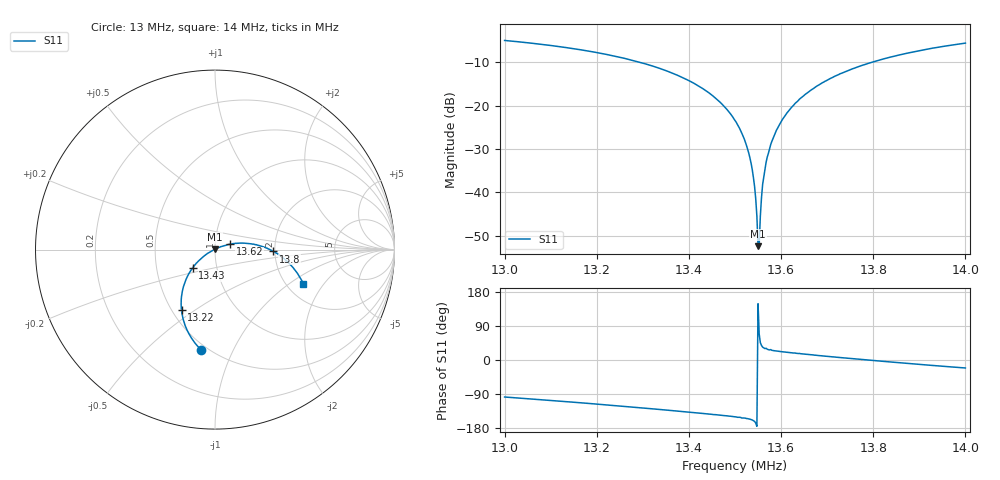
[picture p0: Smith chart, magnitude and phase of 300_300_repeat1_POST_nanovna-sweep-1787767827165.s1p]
! NanoVNA Web complex sweep
! Processing: original sample grid, no browser smoothing
# Hz S RI R 50
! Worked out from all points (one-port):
!   401 points, 13 MHz to 14 MHz, reference 50 ohm
!   lowest |S11| = -52.4 dB at 13.55 MHz (marker M1), VSWR 1.00, Z = 49.8 + j0.125 ohm
!   |S11| at or under -10 dB: 13.29 MHz to 13.8 MHz (502.4 kHz wide, 3.71 % of centre)
!   S11 on the Smith chart (normalised r, x): 13 MHz: 0.46, -0.76; 13.22 MHz: 0.56, -0.44; 13.43 MHz: 0.76, -0.16; 13.62 MHz: 1.18, +0.07; 13.8 MHz: 1.97, -0.05; 14 MHz: 2.46, -1.29
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1.3e7  -0.0757 -0.5606
1.3125e7  -0.1552 -0.4491
1.3225e7  -0.1865 -0.3386
1.325e7  -0.1887 -0.309
1.3375e7  -0.1583 -0.1595
1.34275e7  -0.1245 -0.1017
1.34675e7  -0.0906 -0.0624
1.35e7  -0.0586 -0.0341
1.352e7  -0.0371 -0.0188
1.35325e7  -0.0228 -0.0101
1.354e7  -0.014 -0.00498
1.35425e7  -0.0111 -0.0036
1.35475e7  -0.00531 -0.000471
1.355e7  -0.00205 0.00126
1.35525e7  0.000908 0.00233
1.3555e7  0.00373 0.00381
1.356e7  0.0103 0.00693
1.35625e7  0.0129 0.00798
1.3565e7  0.0159 0.00921
1.35725e7  0.0252 0.013
1.359e7  0.0479 0.0211
1.36175e7  0.0834 0.0298
1.3625e7  0.0933 0.0316
1.368e7  0.1674 0.0354
1.375e7  0.2593 0.0187
1.3805e7  0.3258 -0.0104
1.3875e7  0.3997 -0.0637
1.4e7  0.492 -0.1893
